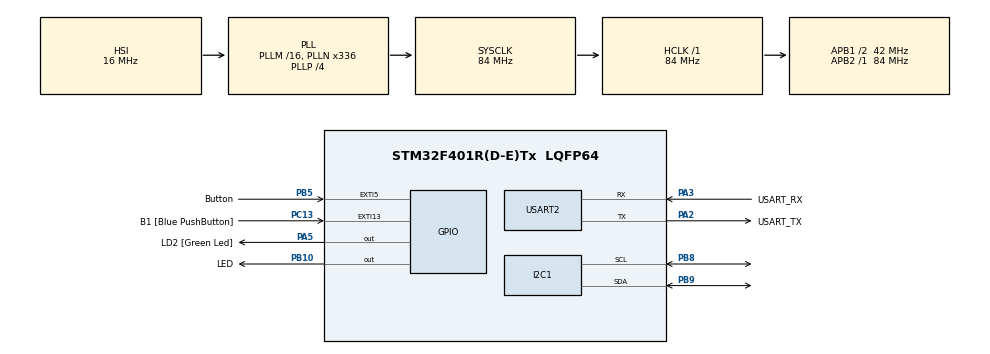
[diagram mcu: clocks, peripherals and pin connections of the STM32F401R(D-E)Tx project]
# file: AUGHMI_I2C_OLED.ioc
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I2C1.I2C_Mode=I2C_Fast
Mcu.Family=STM32F4
Mcu.Name=STM32F401R(D-E)Tx
Mcu.Package=LQFP64
NVIC.EXTI9_5_IRQn=true\:0\:0\:false\:false\:true\:true\:true\:true
NVIC.PriorityGroup=NVIC_PRIORITYGROUP_0
NVIC.USART2_IRQn=true\:0\:0\:false\:false\:true\:true\:true\:true
PA13.GPIO_Label=TMS
PA13.Mode=Serial_Wire
PA13.Signal=SYS_JTMS-SWDIO
PA14.GPIO_Label=TCK
PA14.Mode=Serial_Wire
PA14.Signal=SYS_JTCK-SWCLK
PA2.GPIO_Label=USART_TX
PA2.GPIO_Mode=GPIO_MODE_AF_PP
PA2.GPIO_PuPd=GPIO_NOPULL
PA2.GPIO_Speed=GPIO_SPEED_FREQ_LOW
PA2.Mode=Asynchronous
PA2.Signal=USART2_TX
PA3.GPIO_Label=USART_RX
PA3.GPIO_Mode=GPIO_MODE_AF_PP
PA3.GPIO_PuPd=GPIO_NOPULL
PA3.GPIO_Speed=GPIO_SPEED_FREQ_LOW
PA3.Mode=Asynchronous
PA3.Signal=USART2_RX
PA5.GPIO_Label=LD2 [Green Led]
PA5.GPIO_Mode=GPIO_MODE_OUTPUT_PP
PA5.GPIO_PuPd=GPIO_NOPULL
PA5.GPIO_Speed=GPIO_SPEED_FREQ_LOW
PA5.Signal=GPIO_Output
PB10.GPIO_Label=LED
PB10.Signal=GPIO_Output
PB3.GPIO_Label=SWO
PB3.Signal=SYS_JTDO-SWO
PB5.GPIO_Label=Button
PB5.GPIO_ModeDefaultEXTI=GPIO_MODE_IT_FALLING
PB5.GPIO_PuPd=GPIO_NOPULL
PB5.Signal=GPXTI5
PB8.Mode=I2C
PB8.Signal=I2C1_SCL
PB9.Mode=I2C
PB9.Signal=I2C1_SDA
PC13-ANTI_TAMP.GPIO_Label=B1 [Blue PushButton]
PC13-ANTI_TAMP.GPIO_ModeDefaultEXTI=GPIO_MODE_EVT_RISING
PC13-ANTI_TAMP.GPIO_PuPd=GPIO_NOPULL
PC13-ANTI_TAMP.Signal=GPXTI13
PC14-OSC32_IN.Mode=LSE-External-Oscillator
PC14-OSC32_IN.Signal=RCC_OSC32_IN
PC15-OSC32_OUT.Mode=LSE-External-Oscillator
PC15-OSC32_OUT.Signal=RCC_OSC32_OUT
PH0\ -\ OSC_IN.Mode=HSE-External-Clock-Source
PH0\ -\ OSC_IN.Signal=RCC_OSC_IN
PH1\ -\ OSC_OUT.Mode=HSE-External-Clock-Source
PH1\ -\ OSC_OUT.Signal=RCC_OSC_OUT
ProjectManager.HeapSize=0x200
ProjectManager.StackSize=0x400
ProjectManager.TargetToolchain=STM32CubeIDE
RCC.48MHZClocksFreq_Value=48000000
RCC.AHBFreq_Value=84000000
RCC.APB1CLKDivider=RCC_HCLK_DIV2
RCC.APB1Freq_Value=42000000
RCC.APB1TimFreq_Value=84000000
RCC.APB2Freq_Value=84000000
RCC.APB2TimFreq_Value=84000000
RCC.CortexFreq_Value=84000000
RCC.HCLKFreq_Value=84000000
RCC.HSE_VALUE=8000000
RCC.HSI_VALUE=16000000
RCC.PLLN=336
RCC.PLLP=RCC_PLLP_DIV4
RCC.PLLQ=7
RCC.SYSCLKFreq_VALUE=84000000
RCC.SYSCLKSource=RCC_SYSCLKSOURCE_PLLCLK
RCC.VCOOutputFreq_Value=336000000
USART2.VirtualMode=VM_ASYNC
board=NUCLEO-F401RE

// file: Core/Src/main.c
/* USER CODE BEGIN Header */
/**
  ******************************************************************************
  * @file           : main.c
  * @brief          : Main program body
  ******************************************************************************
  * @attention
  *
  * Copyright (c) 2024 STMicroelectronics.
  * All rights reserved.
  *
  * This software is licensed under terms that can be found in the LICENSE file
  * in the root directory of this software component.
  * If no LICENSE file comes with this software, it is provided AS-IS.
  *
  ******************************************************************************
  */
/* USER CODE END Header */
#include "main.h"

/* USER CODE BEGIN Includes */
#include "ssd1306.h"
#include "ssd1306_tests.h"
#include "ssd1306_fonts.h"
#include "stm32f4xx_hal.h"
#include "string.h"
/* USER CODE END Includes */

I2C_HandleTypeDef hi2c1;

UART_HandleTypeDef huart2;

/* USER CODE BEGIN PV */
char uart_rx_buffer[1024];
char category_data[5][500];
uint8_t current_info_index = 0;
uint32_t last_press_time = 0;
#define DEBOUNCE_DELAY 50              // Debounce (ms
#define DOUBLE_PRESS_DELAY 500         // Double press (ms)
/* USER CODE END PV */

void SystemClock_Config(void);
static void MX_GPIO_Init(void);
static void MX_USART2_UART_Init(void);
static void MX_I2C1_Init(void);

int main(void)
{

  /* MCU Configuration--------------------------------------------------------*/

  /* Reset of all peripherals, Initializes the Flash interface and the Systick. */
  HAL_Init();

  /* Configure the system clock */
  SystemClock_Config();

  /* Initialize all configured peripherals */
  MX_GPIO_Init();
  MX_USART2_UART_Init();
  MX_I2C1_Init();

  /* Infinite loop */
  /* USER CODE BEGIN WHILE */
  while (1)
  {
	  HAL_UART_Receive(&huart2, (uint8_t *)uart_rx_buffer, sizeof(uart_rx_buffer), HAL_MAX_DELAY);

	  ProcessUARTData(uart_rx_buffer);

	  DisplayOLED(category_data[current_info_index]);

	  HAL_Delay(500);
    /* USER CODE END WHILE */

  }
}

void SystemClock_Config(void)
{
  RCC_OscInitTypeDef RCC_OscInitStruct = {0};
  RCC_ClkInitTypeDef RCC_ClkInitStruct = {0};

  /** Configure the main internal regulator output voltage
  */
  __HAL_RCC_PWR_CLK_ENABLE();
  __HAL_PWR_VOLTAGESCALING_CONFIG(PWR_REGULATOR_VOLTAGE_SCALE2);

  /** Initializes the RCC Oscillators according to the specified parameters
  * in the RCC_OscInitTypeDef structure.
  */
  RCC_OscInitStruct.OscillatorType = RCC_OSCILLATORTYPE_HSI;
  RCC_OscInitStruct.HSIState = RCC_HSI_ON;
  RCC_OscInitStruct.HSICalibrationValue = RCC_HSICALIBRATION_DEFAULT;
  RCC_OscInitStruct.PLL.PLLState = RCC_PLL_ON;
  RCC_OscInitStruct.PLL.PLLSource = RCC_PLLSOURCE_HSI;
  RCC_OscInitStruct.PLL.PLLM = 16;
  RCC_OscInitStruct.PLL.PLLN = 336;
  RCC_OscInitStruct.PLL.PLLP = RCC_PLLP_DIV4;
  RCC_OscInitStruct.PLL.PLLQ = 7;
  if (HAL_RCC_OscConfig(&RCC_OscInitStruct) != HAL_OK)
  {
    Error_Handler();
  }

  /** Initializes the CPU, AHB and APB buses clocks
  */
  RCC_ClkInitStruct.ClockType = RCC_CLOCKTYPE_HCLK|RCC_CLOCKTYPE_SYSCLK
                              |RCC_CLOCKTYPE_PCLK1|RCC_CLOCKTYPE_PCLK2;
  RCC_ClkInitStruct.SYSCLKSource = RCC_SYSCLKSOURCE_PLLCLK;
  RCC_ClkInitStruct.AHBCLKDivider = RCC_SYSCLK_DIV1;
  RCC_ClkInitStruct.APB1CLKDivider = RCC_HCLK_DIV2;
  RCC_ClkInitStruct.APB2CLKDivider = RCC_HCLK_DIV1;

  if (HAL_RCC_ClockConfig(&RCC_ClkInitStruct, FLASH_LATENCY_2) != HAL_OK)
  {
    Error_Handler();
  }
}

static void MX_I2C1_Init(void)
{

  hi2c1.Instance = I2C1;
  hi2c1.Init.ClockSpeed = 400000;
  hi2c1.Init.DutyCycle = I2C_DUTYCYCLE_2;
  hi2c1.Init.OwnAddress1 = 0;
  hi2c1.Init.AddressingMode = I2C_ADDRESSINGMODE_7BIT;
  hi2c1.Init.DualAddressMode = I2C_DUALADDRESS_DISABLE;
  hi2c1.Init.OwnAddress2 = 0;
  hi2c1.Init.GeneralCallMode = I2C_GENERALCALL_DISABLE;
  hi2c1.Init.NoStretchMode = I2C_NOSTRETCH_DISABLE;
  if (HAL_I2C_Init(&hi2c1) != HAL_OK)
  {
    Error_Handler();
  }

}

static void MX_USART2_UART_Init(void)
{

  huart2.Instance = USART2;
  huart2.Init.BaudRate = 115200;
  huart2.Init.WordLength = UART_WORDLENGTH_8B;
  huart2.Init.StopBits = UART_STOPBITS_1;
  huart2.Init.Parity = UART_PARITY_NONE;
  huart2.Init.Mode = UART_MODE_TX_RX;
  huart2.Init.HwFlowCtl = UART_HWCONTROL_NONE;
  huart2.Init.OverSampling = UART_OVERSAMPLING_16;
  if (HAL_UART_Init(&huart2) != HAL_OK)
  {
    Error_Handler();
  }

}

static void MX_GPIO_Init(void)
{
  GPIO_InitTypeDef GPIO_InitStruct = {0};

  /* GPIO Ports Clock Enable */
  __HAL_RCC_GPIOC_CLK_ENABLE();
  __HAL_RCC_GPIOH_CLK_ENABLE();
  __HAL_RCC_GPIOA_CLK_ENABLE();
  __HAL_RCC_GPIOB_CLK_ENABLE();

  /*Configure GPIO pin Output Level */
  HAL_GPIO_WritePin(LD2_GPIO_Port, LD2_Pin, GPIO_PIN_RESET);

  /*Configure GPIO pin Output Level */
  HAL_GPIO_WritePin(LED_GPIO_Port, LED_Pin, GPIO_PIN_RESET);

  /*Configure GPIO pin : B1_Pin */
  GPIO_InitStruct.Pin = B1_Pin;
  GPIO_InitStruct.Mode = GPIO_MODE_EVT_RISING;
  GPIO_InitStruct.Pull = GPIO_NOPULL;
  HAL_GPIO_Init(B1_GPIO_Port, &GPIO_InitStruct);

  /*Configure GPIO pin : LD2_Pin */
  GPIO_InitStruct.Pin = LD2_Pin;
  GPIO_InitStruct.Mode = GPIO_MODE_OUTPUT_PP;
  GPIO_InitStruct.Pull = GPIO_NOPULL;
  GPIO_InitStruct.Speed = GPIO_SPEED_FREQ_LOW;
  HAL_GPIO_Init(LD2_GPIO_Port, &GPIO_InitStruct);

  /*Configure GPIO pin : LED_Pin */
  GPIO_InitStruct.Pin = LED_Pin;
  GPIO_InitStruct.Mode = GPIO_MODE_OUTPUT_PP;
  GPIO_InitStruct.Pull = GPIO_NOPULL;
  GPIO_InitStruct.Speed = GPIO_SPEED_FREQ_LOW;
  HAL_GPIO_Init(LED_GPIO_Port, &GPIO_InitStruct);

  /*Configure GPIO pin : Button_Pin */
  GPIO_InitStruct.Pin = Button_Pin;
  GPIO_InitStruct.Mode = GPIO_MODE_IT_FALLING;
  GPIO_InitStruct.Pull = GPIO_NOPULL;
  HAL_GPIO_Init(Button_GPIO_Port, &GPIO_InitStruct);

  /* EXTI interrupt init*/
  HAL_NVIC_SetPriority(EXTI9_5_IRQn, 0, 0);
  HAL_NVIC_EnableIRQ(EXTI9_5_IRQn);

}

/* USER CODE BEGIN 4 */
void DisplayOLED(const char *data) {
    ssd1306_Fill(Black);

    uint8_t y_pos = 0;
    const char *line = data;
    while (*line && y_pos < SSD1306_HEIGHT) {
        char buffer[32];
        char *newline = strchr(line, '\n');
        if (newline) {
            size_t line_length = newline - line;
            if (line_length > sizeof(buffer) - 1) {
                line_length = sizeof(buffer) - 1;
            }
            strncpy(buffer, line, line_length);
            buffer[line_length] = '\0';
            line = newline + 1;
        } else {
            strncpy(buffer, line, sizeof(buffer) - 1);
            buffer[sizeof(buffer) - 1] = '\0';
            line += strlen(line);
        }

        ssd1306_SetCursor(0, y_pos);
        ssd1306_WriteString(buffer, Font_6x8, White);
        y_pos += 10;
    }

    ssd1306_UpdateScreen();
}

void ProcessUARTData(const char *data) {
    memset(category_data, 0, sizeof(category_data));

    for (int i = 0; i < 5; i++) {
        char identifier[5];
        sprintf(identifier, "000%d", i + 1);
        char *section_start = strstr(data, identifier);
        char *section_end = section_start ? strstr(section_start + 5, "000") : NULL;

        if (section_start) {
            section_start += 5;
            if (section_end) {
                strncpy(category_data[i], section_start, section_end - section_start);
            } else {
                strncpy(category_data[i], section_start, sizeof(category_data[i]) - 1);
            }
        }
    }
}

// Handeling Button press
void HAL_GPIO_EXTI_Callback(uint16_t GPIO_Pin) {
    if (GPIO_Pin == GPIO_PIN_5) { // PB5 Button
        uint32_t current_time = HAL_GetTick();

        if (current_time - last_press_time > DEBOUNCE_DELAY) {
            if (current_time - last_press_time < DOUBLE_PRESS_DELAY) {
                current_info_index = (current_info_index == 0) ? 5 : current_info_index - 1;
            } else {
                current_info_index = (current_info_index + 1) % 5;
            }
            last_press_time = current_time;

            DisplayOLED(category_data[current_info_index]);
        }
    }
}

/* USER CODE END 4 */

void Error_Handler(void)
{
  __disable_irq();
  while (1)
  {
  }
}
